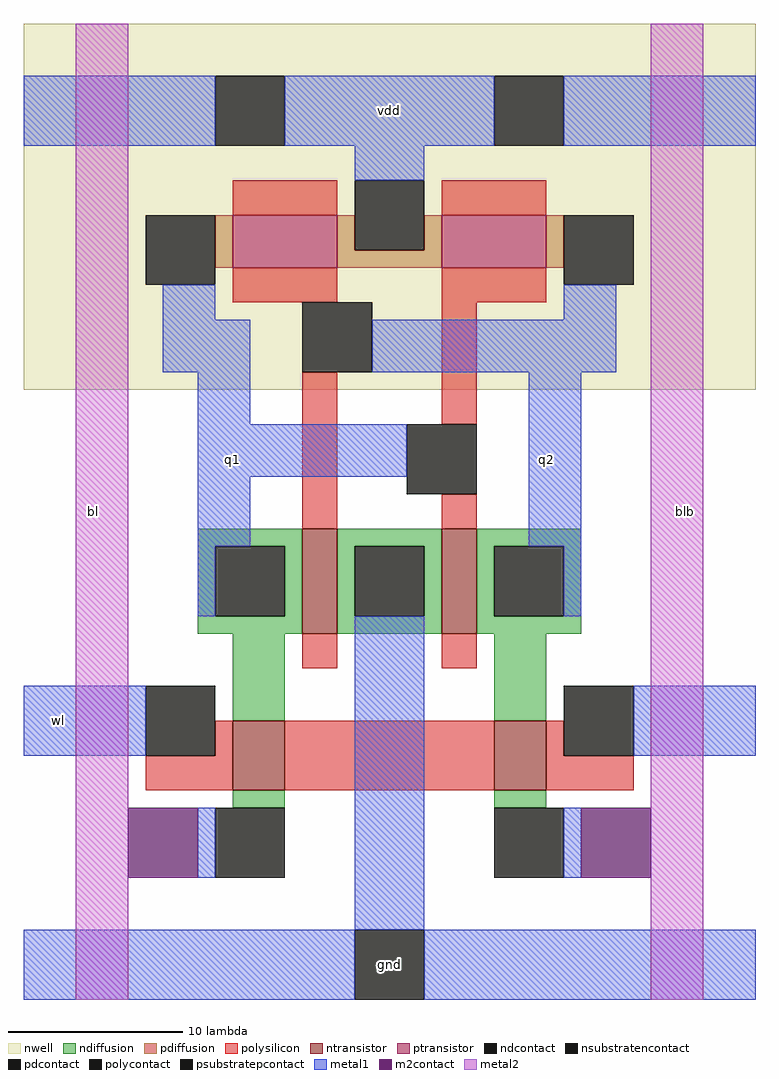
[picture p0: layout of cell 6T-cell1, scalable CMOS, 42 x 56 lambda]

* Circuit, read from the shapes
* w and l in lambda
.subckt 6T-cell1 bl blb gnd q1 q2 vdd wl
M1 q1 wl bl gnd nfet w=3 l=4
M2 gnd q2 q1 gnd nfet w=6 l=2
M3 q2 q1 gnd gnd nfet w=6 l=2
M4 q2 wl blb gnd nfet w=3 l=4
M5 vdd q2 q1 vdd pfet w=3 l=6
M6 q2 q1 vdd vdd pfet w=3 l=6
.ends

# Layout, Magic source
magic
tech scmos
<< nwell >>
rect -191 27 -149 48
<< ntransistor >>
rect -175 13 -173 19
rect -167 13 -165 19
rect -179 4 -176 8
rect -164 4 -161 8
<< ptransistor >>
rect -179 34 -173 37
rect -167 34 -161 37
<< ndiffusion >>
rect -181 18 -175 19
rect -181 14 -180 18
rect -176 14 -175 18
rect -181 13 -175 14
rect -173 18 -167 19
rect -173 14 -172 18
rect -168 14 -167 18
rect -173 13 -167 14
rect -165 18 -159 19
rect -165 14 -164 18
rect -160 14 -159 18
rect -165 13 -159 14
rect -179 8 -176 13
rect -164 8 -161 13
rect -179 3 -176 4
rect -164 3 -161 4
<< pdiffusion >>
rect -180 34 -179 37
rect -173 35 -172 37
rect -168 35 -167 37
rect -173 34 -167 35
rect -161 34 -160 37
<< ndcontact >>
rect -180 14 -176 18
rect -172 14 -168 18
rect -164 14 -160 18
rect -180 -1 -176 3
rect -164 -1 -160 3
<< pdcontact >>
rect -184 33 -180 37
rect -172 35 -168 39
rect -160 33 -156 37
<< psubstratepcontact >>
rect -172 -8 -168 -4
<< nsubstratencontact >>
rect -180 41 -176 45
rect -164 41 -160 45
<< polysilicon >>
rect -179 37 -173 39
rect -167 37 -161 39
rect -179 32 -173 34
rect -167 32 -161 34
rect -175 19 -173 28
rect -167 25 -165 32
rect -167 19 -165 21
rect -175 11 -173 13
rect -167 11 -165 13
rect -180 6 -179 8
rect -184 4 -179 6
rect -176 4 -164 8
rect -161 6 -160 8
rect -161 4 -156 6
<< polycontact >>
rect -175 28 -171 32
rect -169 21 -165 25
rect -184 6 -180 10
rect -160 6 -156 10
<< metal1 >>
rect -191 41 -180 45
rect -176 41 -164 45
rect -160 41 -149 45
rect -172 39 -168 41
rect -183 31 -180 33
rect -183 28 -178 31
rect -160 31 -157 33
rect -171 28 -157 31
rect -181 25 -178 28
rect -181 22 -169 25
rect -181 18 -178 22
rect -162 18 -159 28
rect -181 14 -180 18
rect -160 14 -159 18
rect -191 6 -184 10
rect -181 -1 -180 3
rect -172 -4 -168 14
rect -156 6 -149 10
rect -160 -1 -159 3
rect -191 -8 -172 -4
rect -168 -8 -149 -4
<< m2contact >>
rect -185 -1 -181 3
rect -159 -1 -155 3
<< metal2 >>
rect -188 -8 -185 48
rect -155 -8 -152 48
<< labels >>
rlabel metal1 -170 43 -170 43 5 vdd
rlabel psubstratepcontact -170 -6 -170 -6 1 gnd
rlabel metal1 -189 8 -189 8 3 wl
rlabel metal2 -187 20 -187 20 3 bl
rlabel metal2 -153 20 -153 20 7 blb
rlabel metal1 -179 23 -179 23 1 q1
rlabel metal1 -161 23 -161 23 1 q2
<< end >>
